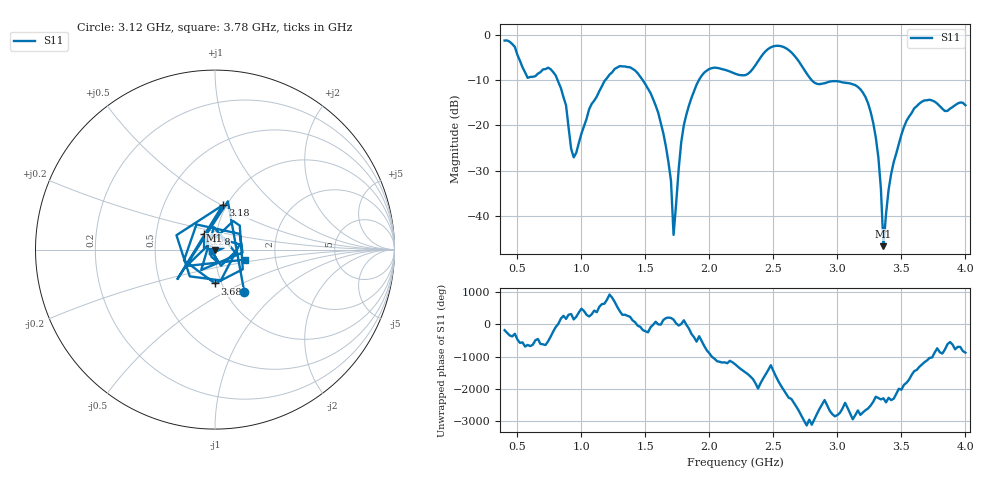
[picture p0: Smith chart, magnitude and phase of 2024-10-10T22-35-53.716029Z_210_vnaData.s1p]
! Created with skrf (http://scikit-rf.org).
# Hz S RI R 50.0
!freq ReS11 ImS11
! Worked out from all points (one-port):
!   181 points, 400 MHz to 4 GHz, reference 50 ohm
!   lowest |S11| = -46.6 dB at 3.36 GHz (marker M1), VSWR 1.01, Z = 49.7 - j0.378 ohm
!   |S11| at or under -10 dB: 813.7 MHz to 1.187 GHz (372.9 MHz wide, 37.3 % of centre); 1.479 GHz to 1.918 GHz (439.1 MHz wide, 25.9 % of centre); 2.798 GHz to end of sweep
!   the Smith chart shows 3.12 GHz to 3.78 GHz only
!   S11 on the Smith chart (normalised r, x): 3.12 GHz: 1.22, -0.62; 3.18 GHz: 0.96, +0.50; 3.28 GHz: 0.87, +0.15; 3.68 GHz: 0.93, -0.36; 3.78 GHz: 1.38, -0.16
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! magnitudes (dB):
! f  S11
! 400 MHz  -1.3
! 580 MHz  -9.5
! 760 MHz  -7.6
! 860 MHz  -13.8
! 940 MHz  -27.0
! 1.08 GHz  -15.3
! 1.3 GHz  -6.9
! 1.6 GHz  -17.2
! 1.7 GHz  -32.2
! 1.72 GHz  -44.1
! 1.76 GHz  -29.6
! 1.8 GHz  -20.0
! 1.92 GHz  -9.9
! 2.2 GHz  -8.6
! 2.5 GHz  -2.6
! 2.66 GHz  -4.5
! 2.82 GHz  -10.6
! 3.1 GHz  -10.7
! 3.12 GHz  -10.9
! 3.18 GHz  -12.0
! 3.28 GHz  -19.4
! 3.32 GHz  -27.0
! 3.36 GHz  -46.6
! 3.42 GHz  -30.7
! 3.56 GHz  -18.1
! 3.68 GHz  -14.5
! 3.78 GHz  -15.2
! 4 GHz  -15.5
